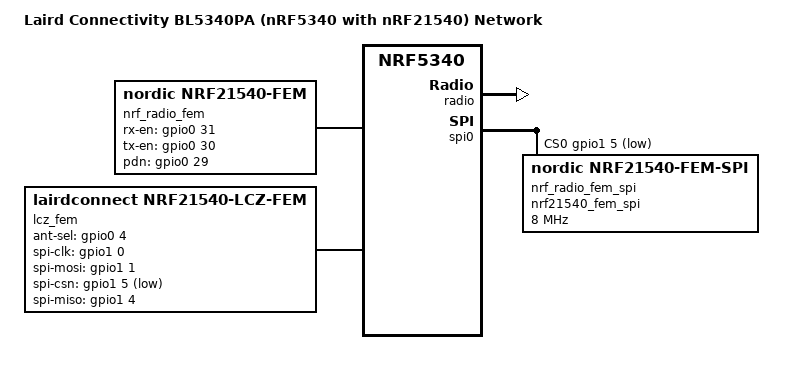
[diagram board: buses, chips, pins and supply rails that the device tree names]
/*
 * Copyright (c) 2020 Nordic Semiconductor ASA
 * Copyright (c) 2023 Laird Connectivity
 *
 * SPDX-License-Identifier: Apache-2.0
 */

/dts-v1/;
#include <nordic/nrf5340_cpunet_qkaa.dtsi>
#include "bl5340_dvk_cpunet-pinctrl.dtsi"
#include "bl5340_dvk_cpunet_common.dts"

/ {
	model = "Laird Connectivity BL5340PA (nRF5340 with nRF21540) Network";
	compatible = "lairdconnectivity,bl5340pa-dvk-cpunet";

	chosen {
		zephyr,console = &uart0;
		zephyr,shell-uart = &uart0;
		zephyr,uart-mcumgr = &uart0;
		zephyr,bt-mon-uart = &uart0;
		zephyr,bt-c2h-uart = &uart0;
		zephyr,sram = &sram1;
		zephyr,flash = &flash1;
		zephyr,code-partition = &slot0_partition;
		zephyr,bt-hci-rpmsg-ipc = &ipc0;
	};

	aliases {
		watchdog0 = &wdt0;
	};

	nrf_radio_fem: nrf21540_fem {
		compatible = "nordic,nrf21540-fem";
		rx-en-gpios = <&gpio0 31 GPIO_ACTIVE_HIGH>;
		tx-en-gpios = <&gpio0 30 GPIO_ACTIVE_HIGH>;
		pdn-gpios = <&gpio0 29 GPIO_ACTIVE_HIGH>;
		spi-if = <&nrf_radio_fem_spi>;
		supply-voltage-mv = <3300>;
	};

	/* The Laird Connectivity driver that ensures regulatory compliance and
	 * proper GPIO control requires the Nordic Connect SDK (MPSL FEM driver).
	 * The default is external antenna and FCC/IC region.
	 *
	 * Add 'internal-antenna;' to use the internal antenna verison.
	 * Change to'power-table = <1>;' for Australia/NZ.
	 */
	lcz_fem: nrf21540_lcz_fem  {
		compatible = "lairdconnect,nrf21540-lcz-fem";
		ant-sel-gpios = <&gpio0 4 GPIO_ACTIVE_HIGH>;
		spi-clk-gpios = <&gpio1 0 GPIO_ACTIVE_HIGH>;
		spi-mosi-gpios = <&gpio1 1 GPIO_ACTIVE_HIGH>;
		spi-csn-gpios = <&gpio1 5 GPIO_ACTIVE_LOW>;
		spi-miso-gpios = <&gpio1 4 GPIO_ACTIVE_HIGH>;
		power-table = <0>;
	};
};

&radio {
	fem = <&nrf_radio_fem>;
};

/* Can't be used with SPI0/FEM */
&uart0 {
	status = "disabled";
	current-speed = <115200>;
	pinctrl-0 = <&uart0_default>;
	pinctrl-1 = <&uart0_sleep>;
	pinctrl-names = "default", "sleep";
};

&spi0 {
	status = "okay";
	cs-gpios = <&gpio1 5 GPIO_ACTIVE_LOW>;
	pinctrl-0 = <&spi0_default>;
	pinctrl-1 = <&spi0_sleep>;
	pinctrl-names = "default", "sleep";
	
	nrf_radio_fem_spi: nrf21540_fem_spi@0 {
		status = "okay";
		compatible = "nordic,nrf21540-fem-spi";
		reg = <0>;
		spi-max-frequency = <8000000>;
	};
};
